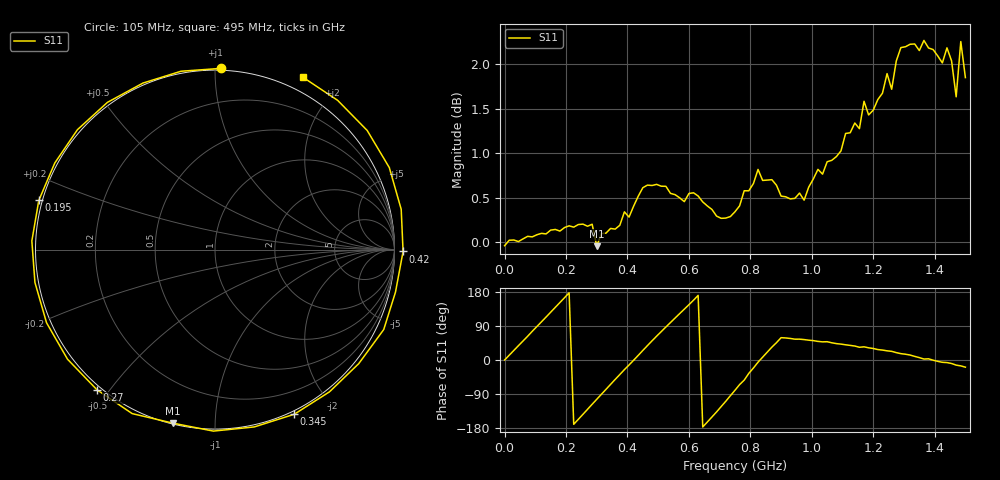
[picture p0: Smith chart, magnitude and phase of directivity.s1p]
! Created with skrf 1.8.0 (http://scikit-rf.org).
# Hz S RI R 50.0
!freq ReS11 ImS11
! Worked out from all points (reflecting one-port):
!   101 points, 50 kHz to 1.5 GHz, reference 50 ohm
!   lowest |S11| = 0.0 dB at 300 MHz (marker M1), VSWR 398.99, Z = 0.203 - j39.3 ohm
!   phase of S11 starts at -0 deg and turns +701 deg over the sweep
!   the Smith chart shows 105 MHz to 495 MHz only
!   S11 on the Smith chart (normalised r, x): 105 MHz: -0.01, +1.03; 195 MHz: -0.01, +0.14; 270 MHz: -0.01, -0.47; 345 MHz: -0.03, -1.59; 420 MHz: -41, -9; 495 MHz: -0.14, +1.63
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50000  0.9956 -0.00038
4.50485e7  0.7904 0.6142
7.50475e7  0.4634 0.8949
1.050465e8  0.0307 1.009
1.50045e8  -0.5992 0.8204
1.950435e8  -0.9817 0.2743
2.40042e8  -0.9385 -0.4077
2.70041e8  -0.6578 -0.7809
3.0004e8  -0.2347 -0.9669
3.450385e8  0.4416 -0.9173
3.750375e8  0.8009 -0.6353
4.20036e8  1.048 -0.0104
4.50035e8  0.9712 0.4568
4.950335e8  0.4905 0.9598
5.250325e8  0.0547 1.074
5.70031e8  -0.5698 0.8929
6.150295e8  -0.9873 0.4025
6.60028e8  -1.006 -0.2959
7.050265e8  -0.5592 -0.8668
7.50025e8  0.1836 -1.024
7.80024e8  0.6418 -0.8549
8.250225e8  1.093 -0.1108
8.550215e8  1.014 0.3831
9.0002e8  0.548 0.9093
9.450185e8  0.6078 0.8667
1.125012e9  0.9013 0.718
1.320006e9  1.259 0.2921
1.5e9  1.171 -0.4011
